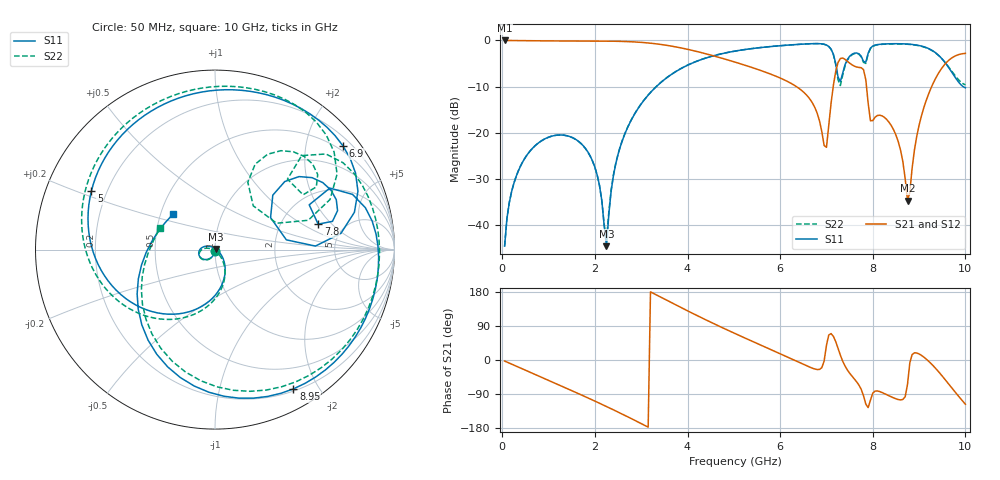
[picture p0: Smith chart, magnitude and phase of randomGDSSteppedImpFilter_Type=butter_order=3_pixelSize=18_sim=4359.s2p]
! freq	dB(S11)	phase(S11)	dB(S12)	phase(S12)
!  dB(S21)	phase(S21)	dB(S22)	phase(S22)
!S-par simulation data
#  GHz  S  DB  R 50
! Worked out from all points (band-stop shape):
!   200 points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, 50 MHz to 10 GHz, reference 50 ohm
!   highest |S21| = 0.00 dB at 50 MHz (marker M1); lowest = -34.8 dB at 8.75 GHz (marker M2)
!   |S21| within 3 dB of the highest: start of sweep to 4.436 GHz; 9.882 GHz to end of sweep
!   lowest |S11| = -44.7 dB at 2.25 GHz (marker M3), VSWR 1.01, Z = 50.4 + j0.396 ohm
!   |S11| at or under -10 dB: start of sweep to 3.328 GHz; 9.947 GHz to end of sweep
!   |S22| runs from -44.6 to -0.7 dB; largest |S21 - S12| = 0
!   S11 on the Smith chart (normalised r, x): 50 MHz: 1.00, -0.01; 5 GHz: 0.14, +0.22; 6.9 GHz: 0.38, +2.78; 7.8 GHz: 3.23, +1.41; 8.95 GHz: 0.23, -1.69; 10 GHz: 0.58, +0.25
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0.05  -44.66 -91.6  -0.00 -2.7  -0.00 -2.7  -44.65 -91.4
0.55  -24.64 -121.0  -0.06 -29.6  -0.06 -29.6  -24.64 -119.1
1.75  -22.89 170.1  -0.13 -94.5  -0.13 -94.5  -22.91 179.5
2.05  -29.25 148.2  -0.14 -111.3  -0.14 -111.3  -29.29 168.6
2.25  -44.67 42.1  -0.15 -122.8  -0.15 -122.8  -43.31 -108.1
2.55  -23.01 -49.1  -0.20 -140.4  -0.20 -140.4  -22.93 -54.7
3.4  -9.34 -106.3  -0.84 167.1  -0.84 167.1  -9.31 -101.6
4.15  -4.72 -154.4  -2.27 120.6  -2.27 120.6  -4.70 -146.0
5  -2.36 154.6  -4.63 71.3  -4.63 71.3  -2.35 166.8
5.05  -2.27 151.7  -4.78 68.5  -4.78 68.5  -2.26 164.1
6.7  -0.70 55.0  -13.62 -21.8  -13.62 -21.8  -0.70 72.5
6.9  -0.75 39.0  -19.81 -20.2  -19.81 -20.2  -0.75 56.5
7  -1.00 28.5  -23.21 39.0  -23.21 39.0  -1.01 45.8
7.2  -5.04 2.0  -6.72 48.6  -6.72 48.6  -5.28 17.5
7.35  -7.09 43.3  -3.82 -2.9  -3.82 -2.9  -7.58 64.0
7.8  -4.55 13.9  -6.33 -94.3  -6.33 -94.3  -4.76 31.9
7.95  -1.66 21.9  -17.44 -105.9  -17.44 -105.9  -1.77 40.8
8.35  -0.72 -13.8  -17.75 -94.4  -17.75 -94.4  -0.77 3.0
8.75  -0.78 -43.5  -34.76 -64.4  -34.76 -64.4  -0.83 -29.2
8.95  -1.01 -60.6  -20.79 18.5  -20.79 18.5  -1.06 -48.0
9.5  -4.05 -126.5  -5.88 -42.3  -5.88 -42.3  -4.05 -118.7
10  -10.28 140.3  -2.82 -116.8  -2.82 -116.8  -9.64 158.9
